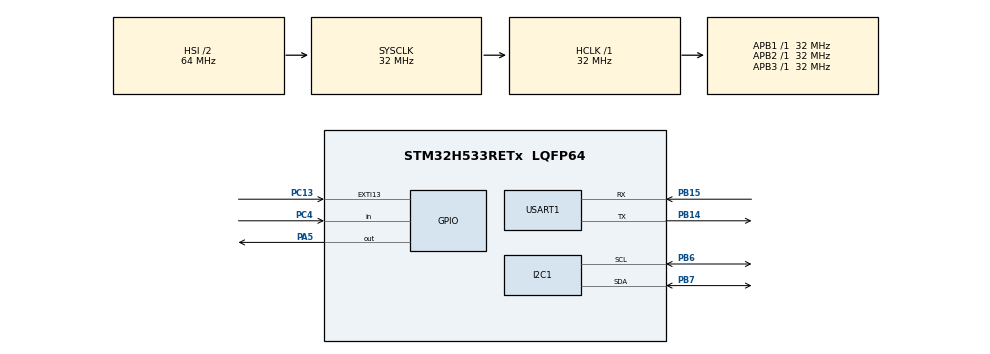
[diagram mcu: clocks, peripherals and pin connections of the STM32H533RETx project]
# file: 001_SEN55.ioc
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BOOTPATH.BootPathName=LEGACY
BOOTPATH.UserSelectedBootPath=LEGACY
CORTEX_M33_NS.userName=CORTEX_M33
I2C1.Timing=0x00707CBB
Mcu.Family=STM32H5
Mcu.Name=STM32H533RETx
Mcu.Package=LQFP64
NUCLEO-H533RE.BUTTON=1
NUCLEO-H533RE.LD4=true
NUCLEO-H533RE.VCP=true
NVIC.EXTI13_IRQn=true\:0\:0\:false\:false\:true\:false\:true\:true
NVIC.I2C1_EV_IRQn=true\:0\:0\:false\:false\:true\:true\:true\:true
NVIC.PriorityGroup=NVIC_PRIORITYGROUP_4
PA13(JTMS/SWDIO).GPIO_Label=SWDIO
PA13(JTMS/SWDIO).Signal=DEBUG_JTMS-SWDIO
PA14(JTCK/SWCLK).GPIO_Label=SWCLK
PA14(JTCK/SWCLK).Signal=DEBUG_JTCK-SWCLK
PA15(JTDI).GPIO_Label=JTDI
PA15(JTDI).Signal=DEBUG_JTDI
PA2.Signal=USART2_TX
PA3.Signal=USART2_RX
PA5.Signal=GPIO_Output
PB14.Mode=Asynchronous
PB14.Signal=USART1_TX
PB15.Mode=Asynchronous
PB15.Signal=USART1_RX
PB3(JTDO/TRACESWO).GPIO_Label=SWO
PB3(JTDO/TRACESWO).Signal=DEBUG_JTDO-SWO
PB6.Mode=I2C
PB6.Signal=I2C1_SCL
PB7.Mode=I2C
PB7.Signal=I2C1_SDA
PC13.Signal=GPXTI13
PC4.Signal=GPIO_Input
ProjectManager.HeapSize=0x200
ProjectManager.StackSize=0x400
ProjectManager.TargetToolchain=STM32CubeIDE
RCC.ADCFreq_Value=32000000
RCC.AHBFreq_Value=32000000
RCC.APB1Freq_Value=32000000
RCC.APB1TimFreq_Value=32000000
RCC.APB2Freq_Value=32000000
RCC.APB2TimFreq_Value=32000000
RCC.APB3Freq_Value=32000000
RCC.CSI_VALUE=4000000
RCC.CortexFreq_Value=32000000
RCC.EPOD_VALUE=4000000
RCC.HCLKFreq_Value=32000000
RCC.HSE_VALUE=25000000
RCC.HSI48_VALUE=48000000
RCC.HSI_VALUE=64000000
RCC.LSE_VALUE=32768
RCC.LSIRC_VALUE=32000
RCC.SYSCLKFreq_VALUE=32000000
RCC.USBFreq_Value=48000000
RCC.VCOOutputFreq_Value=516000000
USART1.VirtualMode-Asynchronous=VM_ASYNC
VP_BOOTPATH_VS_BOOTPATH.Mode=BP_Activate
VP_CORTEX_M33_NS_VS_Hclk.Mode=Hclk_Mode
VP_ICACHE_VS_ICACHE.Mode=DirectMappedCache
VP_MEMORYMAP_VS_MEMORYMAP.Mode=CurAppReg
VP_NUCLEO-H533RE_VS_BSP_COMMON.Mode=COMMON
VP_PWR_VS_LPOM.Mode=PowerOptimisation
VP_PWR_VS_SECSignals.Mode=Security/Privilege
board=NUCLEO-H533RE

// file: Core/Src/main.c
/* USER CODE BEGIN Header */
/**
  ******************************************************************************
  * @file           : main.c
  * @brief          : Main program body
  ******************************************************************************
  * @attention
  *
  * Copyright (c) 2025 STMicroelectronics.
  * All rights reserved.
  *
  * This software is licensed under terms that can be found in the LICENSE file
  * in the root directory of this software component.
  * If no LICENSE file comes with this software, it is provided AS-IS.
  *
  ******************************************************************************
  */
/* USER CODE END Header */
#include "main.h"

/* USER CODE BEGIN Includes */
#include "sensirion_i2c_hal.h"
#include "sen5x_i2c.h"
#include "sensirion_common.h"
/* USER CODE END Includes */

/* USER CODE BEGIN PTD */
#include <string.h>
/* USER CODE END PTD */

COM_InitTypeDef BspCOMInit;

I2C_HandleTypeDef hi2c1;

UART_HandleTypeDef huart1;

void SystemClock_Config(void);
static void MX_GPIO_Init(void);
static void MX_I2C1_Init(void);
static void MX_ICACHE_Init(void);
static void MX_USART1_UART_Init(void);
/* USER CODE BEGIN PFP */
void UART_Send(uint8_t *data, uint16_t length)
{
    HAL_UART_Transmit(&huart1, data, length, HAL_MAX_DELAY);
}

void UART_SendString(char *str)
{
    HAL_UART_Transmit(&huart1, (uint8_t *)str, strlen(str), HAL_MAX_DELAY);
}
/* USER CODE END PFP */

int main(void)
{

  /* USER CODE BEGIN 1 */
	int16_t error = 0;
  /* USER CODE END 1 */

  /* MCU Configuration--------------------------------------------------------*/

  /* Reset of all peripherals, Initializes the Flash interface and the Systick. */
  HAL_Init();

  /* Configure the system clock */
  SystemClock_Config();

  /* Initialize all configured peripherals */
  MX_GPIO_Init();
  MX_I2C1_Init();
  MX_ICACHE_Init();
  MX_USART1_UART_Init();
  /* USER CODE BEGIN 2 */

  error = sen5x_device_reset();
  if (error) {
	    char msg[50];
	    sprintf(msg, "Error executing sen5x_device_reset(): %i\r\n", error);
	    UART_SendString(msg);
  }

  unsigned char serial_number[32];
  uint8_t serial_number_size = 32;
  error = sen5x_get_serial_number(serial_number, serial_number_size);
  if (error) {
	    char msg[60];
	    sprintf(msg, "Error executing sen5x_get_serial_number(): %i\r\n", error);
	    UART_SendString(msg);
  } else {
	    char msg[60];
	    sprintf(msg, "Serial number: %s\r\n", serial_number);
	    UART_SendString(msg);
  }

  unsigned char product_name[32];
  uint8_t product_name_size = 32;
  error = sen5x_get_product_name(product_name, product_name_size);
  if (error) {
	  char msg[60];
	  sprintf(msg, "Error executing sen5x_get_product_name(): %i\r\n", error);
	  UART_SendString(msg);
  } else {
	  char msg[60];
	  sprintf(msg, "Product name: %s\r\n", product_name);
	  UART_SendString(msg);
  }

  uint8_t firmware_major;
  uint8_t firmware_minor;
  bool firmware_debug;
  uint8_t hardware_major;
  uint8_t hardware_minor;
  uint8_t protocol_major;
  uint8_t protocol_minor;
  error = sen5x_get_version(&firmware_major, &firmware_minor, &firmware_debug,
                            &hardware_major, &hardware_minor, &protocol_major,
                            &protocol_minor);

  if (error) {
	  char msg[60];
	  sprintf(msg, "Error executing sen5x_get_version(): %i\r\n", error);
	  UART_SendString(msg);
  } else {
	  char msg[80];
	  sprintf(msg, "Firmware: %u.%u, Hardware: %u.%u\r\n", firmware_major,
			  firmware_minor, hardware_major, hardware_minor);
	  UART_SendString(msg);
  }

  // Adjust temp_offset in degrees celsius to account for additional
  // temperature offsets exceeding the SEN module's self heating.
  float temp_offset = 0.0f;
  int16_t default_slope = 0;
  uint16_t default_time_constant = 0;
  error = sen5x_set_temperature_offset_parameters(
      (int16_t)(200 * temp_offset), default_slope, default_time_constant);
  if (error) {
	    char msg[80];
	    sprintf(msg, "Error executing sen5x_set_temperature_offset_parameters(): %i\r\n", error);
	    UART_SendString(msg);
  } else {
	    char msg[80];
	    sprintf(msg, "Temperature Offset set to %.2f °C (SEN54/SEN55 only)\r\n", temp_offset);
	    UART_SendString(msg);
  }

  // start Measurement
  error = sen5x_start_measurement();
  if (error) {
      char msg[60];
      sprintf(msg, "Error executing sen5x_start_measurement(): %i\r\n", error);
      UART_SendString(msg);
  } else {
      UART_SendString("Sensor measurement started successfully\r\n");
  }

  /* USER CODE END 2 */

  /* Initialize leds */
  BSP_LED_Init(LED_GREEN);

  /* Initialize USER push-button, will be used to trigger an interrupt each time it's pressed.*/
  BSP_PB_Init(BUTTON_USER, BUTTON_MODE_EXTI);

  /* Initialize COM1 port (115200, 8 bits (7-bit data + 1 stop bit), no parity */
  BspCOMInit.BaudRate   = 115200;
  BspCOMInit.WordLength = COM_WORDLENGTH_8B;
  BspCOMInit.StopBits   = COM_STOPBITS_1;
  BspCOMInit.Parity     = COM_PARITY_NONE;
  BspCOMInit.HwFlowCtl  = COM_HWCONTROL_NONE;
  if (BSP_COM_Init(COM1, &BspCOMInit) != BSP_ERROR_NONE)
  {
    Error_Handler();
  }

  /* Infinite loop */
  /* USER CODE BEGIN WHILE */
  while (1)
  {
	  HAL_Delay(1000);

	  uint16_t mass_concentration_pm1p0;
	  uint16_t mass_concentration_pm2p5;
	  uint16_t mass_concentration_pm4p0;
	  uint16_t mass_concentration_pm10p0;
	  int16_t ambient_humidity;
	  int16_t ambient_temperature;
	  int16_t voc_index;
	  int16_t nox_index;

	  error = sen5x_read_measured_values(
			  &mass_concentration_pm1p0, &mass_concentration_pm2p5,
			  &mass_concentration_pm4p0, &mass_concentration_pm10p0,
			  &ambient_humidity, &ambient_temperature, &voc_index, &nox_index);

	  if (error) {
		  char msg[60];
		  sprintf(msg, "Error executing sen5x_read_measured_values(): %i\r\n", error);
		  UART_SendString(msg);
	  } else {
		  char msg[100];

		  // PM concentrations
		  sprintf(msg, "PM1.0: %.1f µg/m³\r\n", mass_concentration_pm1p0 / 10.0f);
		  UART_SendString(msg);

		  sprintf(msg, "PM2.5: %.1f µg/m³\r\n", mass_concentration_pm2p5 / 10.0f);
		  UART_SendString(msg);

		  sprintf(msg, "PM4.0: %.1f µg/m³\r\n", mass_concentration_pm4p0 / 10.0f);
		  UART_SendString(msg);

		  sprintf(msg, "PM10.0: %.1f µg/m³\r\n", mass_concentration_pm10p0 / 10.0f);
		  UART_SendString(msg);

		  // humidity
		  if (ambient_humidity == 0x7fff) {
			  UART_SendString("Humidity: n/a\r\n");
		  } else {
			  sprintf(msg, "Humidity: %.1f %%RH\r\n", ambient_humidity / 100.0f);
			  UART_SendString(msg);
		  }

		  // temperature
		  if (ambient_temperature == 0x7fff) {
			  UART_SendString("Temperature: n/a\r\n");
		  } else {
			  sprintf(msg, "Temperature: %.1f °C\r\n", ambient_temperature / 200.0f);
			  UART_SendString(msg);
		  }

		  // VOC index
		  if (voc_index == 0x7fff) {
			  UART_SendString("VOC index: n/a\r\n");
		  } else {
			  sprintf(msg, "VOC index: %.1f\r\n", voc_index / 10.0f);
			  UART_SendString(msg);
		  }

		  // NOx index
		  if (nox_index == 0x7fff) {
			  UART_SendString("NOx index: n/a\r\n");
		  } else {
			  sprintf(msg, "NOx index: %.1f\r\n", nox_index / 10.0f);
			  UART_SendString(msg);
		  }

		  UART_SendString("---\r\n"); // separator
	  }
    /* USER CODE END WHILE */

  }
}

void SystemClock_Config(void)
{
  RCC_OscInitTypeDef RCC_OscInitStruct = {0};
  RCC_ClkInitTypeDef RCC_ClkInitStruct = {0};

  /** Configure the main internal regulator output voltage
  */
  __HAL_PWR_VOLTAGESCALING_CONFIG(PWR_REGULATOR_VOLTAGE_SCALE3);

  while(!__HAL_PWR_GET_FLAG(PWR_FLAG_VOSRDY)) {}

  /** Initializes the RCC Oscillators according to the specified parameters
  * in the RCC_OscInitTypeDef structure.
  */
  RCC_OscInitStruct.OscillatorType = RCC_OSCILLATORTYPE_HSI;
  RCC_OscInitStruct.HSIState = RCC_HSI_ON;
  RCC_OscInitStruct.HSIDiv = RCC_HSI_DIV2;
  RCC_OscInitStruct.HSICalibrationValue = RCC_HSICALIBRATION_DEFAULT;
  RCC_OscInitStruct.PLL.PLLState = RCC_PLL_NONE;
  if (HAL_RCC_OscConfig(&RCC_OscInitStruct) != HAL_OK)
  {
    Error_Handler();
  }

  /** Initializes the CPU, AHB and APB buses clocks
  */
  RCC_ClkInitStruct.ClockType = RCC_CLOCKTYPE_HCLK|RCC_CLOCKTYPE_SYSCLK
                              |RCC_CLOCKTYPE_PCLK1|RCC_CLOCKTYPE_PCLK2
                              |RCC_CLOCKTYPE_PCLK3;
  RCC_ClkInitStruct.SYSCLKSource = RCC_SYSCLKSOURCE_HSI;
  RCC_ClkInitStruct.AHBCLKDivider = RCC_SYSCLK_DIV1;
  RCC_ClkInitStruct.APB1CLKDivider = RCC_HCLK_DIV1;
  RCC_ClkInitStruct.APB2CLKDivider = RCC_HCLK_DIV1;
  RCC_ClkInitStruct.APB3CLKDivider = RCC_HCLK_DIV1;

  if (HAL_RCC_ClockConfig(&RCC_ClkInitStruct, FLASH_LATENCY_1) != HAL_OK)
  {
    Error_Handler();
  }

  /** Configure the programming delay
  */
  __HAL_FLASH_SET_PROGRAM_DELAY(FLASH_PROGRAMMING_DELAY_0);
}

static void MX_I2C1_Init(void)
{

  hi2c1.Instance = I2C1;
  hi2c1.Init.Timing = 0x00707CBB;
  hi2c1.Init.OwnAddress1 = 0;
  hi2c1.Init.AddressingMode = I2C_ADDRESSINGMODE_7BIT;
  hi2c1.Init.DualAddressMode = I2C_DUALADDRESS_DISABLE;
  hi2c1.Init.OwnAddress2 = 0;
  hi2c1.Init.OwnAddress2Masks = I2C_OA2_NOMASK;
  hi2c1.Init.GeneralCallMode = I2C_GENERALCALL_DISABLE;
  hi2c1.Init.NoStretchMode = I2C_NOSTRETCH_DISABLE;
  if (HAL_I2C_Init(&hi2c1) != HAL_OK)
  {
    Error_Handler();
  }

  /** Configure Analogue filter
  */
  if (HAL_I2CEx_ConfigAnalogFilter(&hi2c1, I2C_ANALOGFILTER_ENABLE) != HAL_OK)
  {
    Error_Handler();
  }

  /** Configure Digital filter
  */
  if (HAL_I2CEx_ConfigDigitalFilter(&hi2c1, 0) != HAL_OK)
  {
    Error_Handler();
  }

}

static void MX_ICACHE_Init(void)
{

  /** Enable instruction cache in 1-way (direct mapped cache)
  */
  if (HAL_ICACHE_ConfigAssociativityMode(ICACHE_1WAY) != HAL_OK)
  {
    Error_Handler();
  }
  if (HAL_ICACHE_Enable() != HAL_OK)
  {
    Error_Handler();
  }

}

static void MX_USART1_UART_Init(void)
{

  huart1.Instance = USART1;
  huart1.Init.BaudRate = 115200;
  huart1.Init.WordLength = UART_WORDLENGTH_8B;
  huart1.Init.StopBits = UART_STOPBITS_1;
  huart1.Init.Parity = UART_PARITY_NONE;
  huart1.Init.Mode = UART_MODE_TX_RX;
  huart1.Init.HwFlowCtl = UART_HWCONTROL_NONE;
  huart1.Init.OverSampling = UART_OVERSAMPLING_16;
  huart1.Init.OneBitSampling = UART_ONE_BIT_SAMPLE_DISABLE;
  huart1.Init.ClockPrescaler = UART_PRESCALER_DIV1;
  huart1.AdvancedInit.AdvFeatureInit = UART_ADVFEATURE_NO_INIT;
  if (HAL_UART_Init(&huart1) != HAL_OK)
  {
    Error_Handler();
  }
  if (HAL_UARTEx_SetTxFifoThreshold(&huart1, UART_TXFIFO_THRESHOLD_1_8) != HAL_OK)
  {
    Error_Handler();
  }
  if (HAL_UARTEx_SetRxFifoThreshold(&huart1, UART_RXFIFO_THRESHOLD_1_8) != HAL_OK)
  {
    Error_Handler();
  }
  if (HAL_UARTEx_DisableFifoMode(&huart1) != HAL_OK)
  {
    Error_Handler();
  }

}

static void MX_GPIO_Init(void)
{
  GPIO_InitTypeDef GPIO_InitStruct = {0};

  /* GPIO Ports Clock Enable */
  __HAL_RCC_GPIOC_CLK_ENABLE();
  __HAL_RCC_GPIOB_CLK_ENABLE();
  __HAL_RCC_GPIOA_CLK_ENABLE();

  /*Configure GPIO pin : PC4 */
  GPIO_InitStruct.Pin = GPIO_PIN_4;
  GPIO_InitStruct.Mode = GPIO_MODE_INPUT;
  GPIO_InitStruct.Pull = GPIO_NOPULL;
  HAL_GPIO_Init(GPIOC, &GPIO_InitStruct);

}

void Error_Handler(void)
{
  __disable_irq();
  while (1)
  {
  }
}
